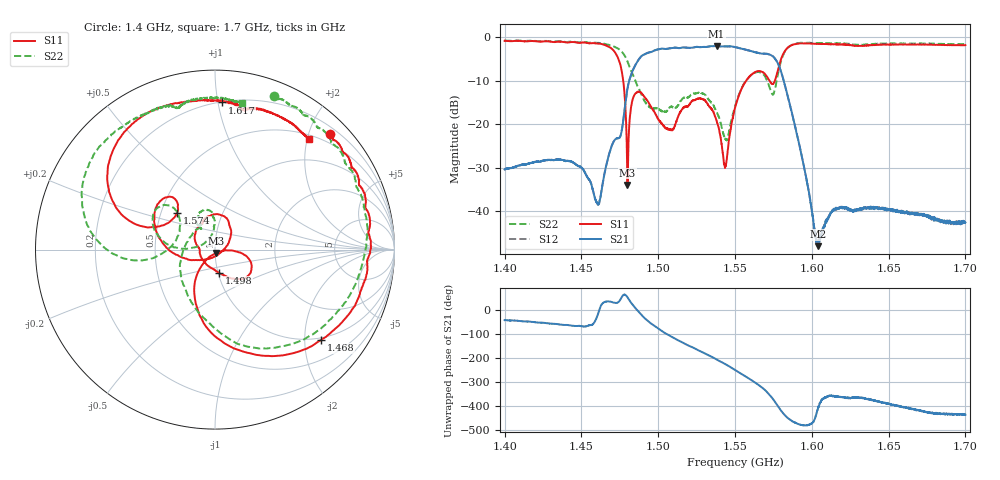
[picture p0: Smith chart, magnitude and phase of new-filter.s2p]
!Device	Rohde-Schwarz,ZNB8-2Port,1311601042106781,2.40
!Address	192.168.0.108
!Info	Rasmus filter
!Note	S11,S22,S21,S12 fetched from instrument
!Date	2023.02.17
!Time	10.06.53
!Program	CaptureVisa64 v1.0.30
!Start	1.4000000 GHz	P1 offset	0
!Stop	1.7000000 GHz	P2 offset	0
!Step	100.000 kHz	P3 offset	N.A.
!Points	3001	P4 offset	N.A.
!RBW	10.00 kHz
!SweepTime	525.2 ms	Average	10
!PowerLevel	-30.00 dBm
# MHZ S DB R 50
!	S11dB	S11ang	S21dB	S21ang	S12dB	S12ang	S22dB	S22ang	!	S11 RL [dB]	S22 RL [dB]	S21 Gain [dB]	S12 Gain [dB]
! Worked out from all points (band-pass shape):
!   3001 points, 1.4 GHz to 1.7 GHz, reference 50 ohm
!   highest |S21| = -2.01 dB at 1.538 GHz (marker M1); lowest = -48.0 dB at 1.604 GHz (marker M2)
!   |S21| within 3 dB of the highest: 1.488 GHz to 1.576 GHz (88.61 MHz wide, 5.78 % of centre)
!   lowest |S11| = -33.9 dB at 1.48 GHz (marker M3), VSWR 1.04, Z = 50.6 - j1.94 ohm
!   |S11| at or under -10 dB: 1.477 GHz to 1.557 GHz (80.08 MHz wide, 5.28 % of centre); 1.57246 GHz to 1.575959 GHz (3.499 MHz wide, 0.222 % of centre)
!   |S22| runs from -23.7 to -0.7 dB; largest |S21 - S12| = 0.0046
!   S11 on the Smith chart (normalised r, x): 1.4 GHz: 0.32, +2.37; 1.468 GHz: 0.94, -2.38; 1.498 GHz: 1.01, -0.27; 1.574 GHz: 0.60, +0.27; 1.617 GHz: 0.20, +1.03; 1.7 GHz: 0.57, +2.04
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1400  -0.83 45.1  -30.40 -41.8  -30.36 -41.6  -0.76 69.1
1450  -1.26 4.7  -29.97 -67.2  -29.93 -67.6  -1.16 31.3
1460.8  -1.48 -16.5  -38.37 -17.0  -38.45 -17.7  -1.29 11.5
1467.8  -2.21 -40.5  -27.15 35.4  -27.18 35.4  -1.74 -8.9
1475.8  -6.97 -94.6  -22.26 48.6  -22.29 48.6  -3.16 -47.2
1480  -33.95 -73.0  -11.76 52.4  -11.79 52.6  -5.59 -78.2
1485.7  -12.80 -27.6  -6.05 3.7  -6.03 3.8  -10.48 -120.4
1498.1  -17.63 -80.2  -2.98 -68.5  -2.98 -68.5  -16.36 138.0
1500  -18.81 -89.8  -2.80 -77.3  -2.79 -77.4  -16.53 128.0
1518.3  -15.90 118.0  -2.40 -143.6  -2.43 -143.4  -13.79 116.2
1538  -19.23 38.5  -2.01 154.6  -2.03 154.6  -17.19 91.5
1543.7  -29.75 -56.8  -2.09 135.0  -2.08 135.0  -23.41 123.6
1550  -16.22 -158.7  -2.28 110.9  -2.28 111.1  -15.94 178.7
1562.9  -8.08 148.4  -3.42 59.1  -3.44 59.1  -8.21 152.9
1573.6  -10.59 136.0  -4.16 -0.6  -4.16 -0.5  -12.59 146.6
1578.7  -6.56 162.3  -6.63 -46.1  -6.65 -46.0  -7.22 -172.0
1584.6  -2.34 140.6  -13.92 -89.9  -13.97 -89.6  -2.37 163.9
1600  -1.50 104.3  -39.80 -110.0  -39.94 -110.8  -1.34 127.9
1603.9  -1.55 99.5  -48.04 -52.7  -47.65 -53.8  -1.36 123.3
1616.8  -1.71 87.4  -39.52 -0.4  -39.40 -0.4  -1.48 112.2
1650  -1.68 69.6  -39.69 -29.2  -39.53 -29.3  -1.46 96.7
1700  -1.84 49.5  -42.58 -74.8  -42.62 -73.5  -1.59 79.8
